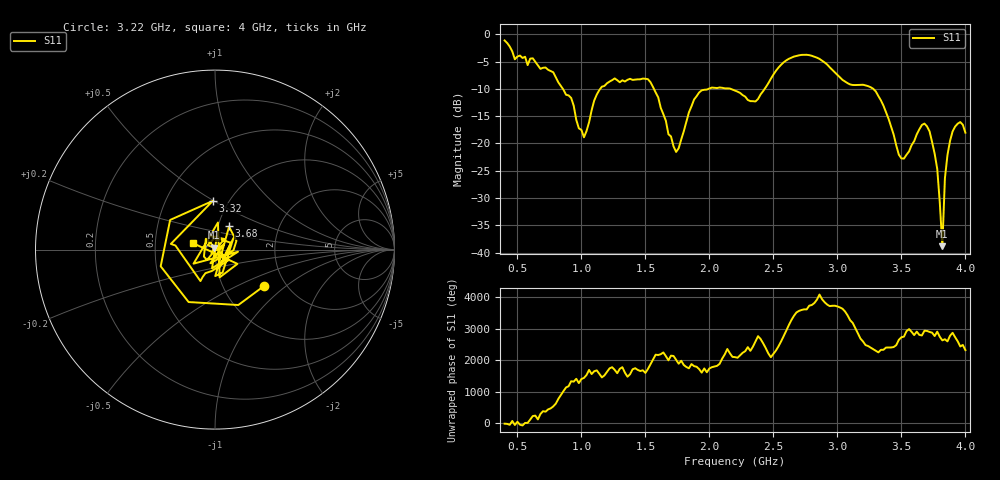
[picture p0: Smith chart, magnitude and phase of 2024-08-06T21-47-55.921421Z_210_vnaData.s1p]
!Created with skrf (http://scikit-rf.org).
# Hz S RI R 50.0
!freq ReS11 ImS11
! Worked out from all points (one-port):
!   181 points, 400 MHz to 4 GHz, reference 50 ohm
!   lowest |S11| = -38.8 dB at 3.82 GHz (marker M1), VSWR 1.02, Z = 49.5 + j1.03 ohm
!   |S11| at or under -10 dB: 855.4 MHz to 1.147 GHz (291.4 MHz wide, 29.1 % of centre); 1.566 GHz to 1.993 GHz (426.8 MHz wide, 24 % of centre); 3.28 GHz to end of sweep (the widest 3 of 4)
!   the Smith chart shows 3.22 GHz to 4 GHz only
!   S11 on the Smith chart (normalised r, x): 3.22 GHz: 1.56, -0.71; 3.32 GHz: 0.84, +0.49; 3.68 GHz: 1.13, +0.30; 4 GHz: 0.78, +0.06
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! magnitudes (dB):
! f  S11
! 400 MHz  -1.1
! 480 MHz  -4.6
! 620 MHz  -4.4
! 860 MHz  -10.2
! 1.02 GHz  -18.9
! 1.14 GHz  -10.2
! 1.3 GHz  -8.8
! 1.52 GHz  -8.2
! 1.72 GHz  -20.6
! 1.76 GHz  -20.9
! 1.92 GHz  -10.7
! 2.2 GHz  -10.3
! 2.36 GHz  -12.3
! 2.66 GHz  -4.1
! 2.86 GHz  -4.5
! 3.1 GHz  -9.2
! 3.22 GHz  -9.4
! 3.32 GHz  -11.3
! 3.48 GHz  -22.1
! 3.56 GHz  -21.5
! 3.68 GHz  -16.4
! 3.72 GHz  -17.8
! 3.78 GHz  -24.7
! 3.82 GHz  -38.8
! 3.84 GHz  -26.4
! 3.88 GHz  -19.5
! 3.96 GHz  -16.1
! 4 GHz  -18.0
